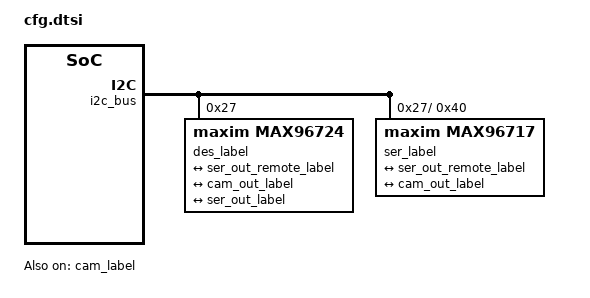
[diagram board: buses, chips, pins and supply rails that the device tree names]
#define _CONCAT(a, b) a ## b
#define CONCAT(a, b) _CONCAT(a, b)

#define des_label max_des_0
#define des_in_label CONCAT(des_label, _in_)
#define des_in_label_x(x) CONCAT(des_in_label, x)
#define des_i2c_label CONCAT(des_label, _i2c_)
#define des_i2c_label_x(x) CONCAT(des_i2c_label, x)

&i2c_bus {
	des_label: gmsl-deserializer@27 {
		#address-cells = <1>;
		#size-cells = <0>;

		compatible = "maxim,max96724";
		reg = <0x27>;
	};
};

&des_label {
	i2c-alias-pool = <0x40 0x41 0x42 0x43>;

	i2c-atr {
		#address-cells = <1>;
		#size-cells = <0>;
	};

	ports {
		#address-cells = <1>;
		#size-cells = <0>;
	};
};

#define ser_label CONCAT(des_label, _ser_0)

#define ser_in_label CONCAT(ser_label, _in_)
#define ser_in_label_x(x) CONCAT(ser_in_label, x)
#define ser_out_label CONCAT(ser_label, _out)
#define ser_out_remote_label des_in_label_x(0)

#define ser_i2c_label CONCAT(ser_label, _i2c_)
#define ser_i2c_label_x(x) CONCAT(ser_i2c_label, x)

#define i2c_label des_i2c_label_x(0)
&des_label {
	i2c-atr {
		i2c_label: i2c@0 {
			#address-cells = <1>;
			#size-cells = <0>;
			reg = <0x0>;
		};
	};
};

&i2c_label {
	ser_label: gmsl-serializer@40 {
		#address-cells = <1>;
		#size-cells = <0>;
		#gpio-cells = <2>;

		compatible = "maxim,max96717";
		reg = <0x40>;

		gpio-controller;
		gpio-ranges = <&ser_label 0 0 11>;
	};
};
#undef i2c_label

&ser_label {
	i2c-alias-pool = <0x50 0x51>;

	i2c-atr {
		#address-cells = <1>;
		#size-cells = <0>;
	};

	ports {
		#address-cells = <1>;
		#size-cells = <0>;

		port@1 {
			reg = <1>;

			ser_out_label: endpoint {
				remote-endpoint = <&ser_out_remote_label>;
			};
		};
	};
};

&des_label {
	ports {
		port@0 {
			reg = <0x0>;

			ser_out_remote_label: endpoint {
				remote-endpoint = <&ser_out_label>;
			};
		};
	};
};

#define cam_label CONCAT(ser_label, _cam_0)
#define vcm_label CONCAT(ser_label, _vcm_0)

#define cam_out_label CONCAT(cam_label, _out)
#define cam_out_remote_label ser_in_label_x(0)

#define i2c_label ser_i2c_label_x(0)
&ser_label {
	i2c-atr {
		i2c_label: i2c@0 {
			#address-cells = <1>;
			#size-cells = <0>;
			reg = <0x0>;
		};
	};
};

#define i2c_csi_dsi0 i2c_label
#define cam_node cam_label
#define cam_endpoint cam_out_label
#define vcm vcm_label
#include "rpi5-csi0-imx219.dtsi"
#undef vcm
#undef cam_node
#undef cam_endpoint
#undef i2c_csi_dsi0

#undef i2c_label

&cam_label {
	status = "okay";

	reset-gpios = <&ser_label 0 GPIO_ACTIVE_HIGH>;
};

&cam_out_label {
	remote-endpoint = <&cam_out_remote_label>;
};

&ser_label {
	ports {
		port@0 {
			reg = <0>;

			cam_out_remote_label: endpoint {
				remote-endpoint = <&cam_out_label>;
			};
		};
	};
};

&cam_out_remote_label {
	clock-lanes = <0>;
	data-lanes = <1 2>;
	clock-noncontinuous;
	link-frequencies = /bits/ 64 <456000000>;
};

#undef cam_out_remote_label
#undef cam_out_label
#undef cam_label

#undef ser_i2c_label_x
#undef ser_i2c_label

#undef ser_out_remote_label
#undef ser_out_label

#undef ser_in_label_x
#undef ser_in_label

#undef ser_label
#define ser_label CONCAT(des_label, _ser_1)

#define ser_in_label CONCAT(ser_label, _in_)
#define ser_in_label_x(x) CONCAT(ser_in_label, x)
#define ser_out_label CONCAT(ser_label, _out)
#define ser_out_remote_label des_in_label_x(1)

#define ser_i2c_label CONCAT(ser_label, _i2c_)
#define ser_i2c_label_x(x) CONCAT(ser_i2c_label, x)

#define i2c_label des_i2c_label_x(1)
&des_label {
	i2c-atr {
		i2c_label: i2c@1 {
			#address-cells = <1>;
			#size-cells = <0>;
			reg = <0x1>;
		};
	};
};

&i2c_label {
	ser_label: gmsl-serializer@40 {
		#address-cells = <1>;
		#size-cells = <0>;
		#gpio-cells = <2>;

		compatible = "maxim,max96717";
		reg = <0x40>;

		gpio-controller;
		gpio-ranges = <&ser_label 0 0 11>;
	};
};
#undef i2c_label

&ser_label {
	i2c-alias-pool = <0x50 0x51>;

	i2c-atr {
		#address-cells = <1>;
		#size-cells = <0>;
	};

	ports {
		#address-cells = <1>;
		#size-cells = <0>;

		port@1 {
			reg = <1>;

			ser_out_label: endpoint {
				remote-endpoint = <&ser_out_remote_label>;
			};
		};
	};
};

&des_label {
	ports {
		port@1 {
			reg = <0x1>;

			ser_out_remote_label: endpoint {
				remote-endpoint = <&ser_out_label>;
			};
		};
	};
};

#define cam_label CONCAT(ser_label, _cam_0)
#define vcm_label CONCAT(ser_label, _vcm_0)

#define cam_out_label CONCAT(cam_label, _out)
#define cam_out_remote_label ser_in_label_x(0)

#define i2c_label ser_i2c_label_x(0)
&ser_label {
	i2c-atr {
		i2c_label: i2c@0 {
			#address-cells = <1>;
			#size-cells = <0>;
			reg = <0x0>;
		};
	};
};

#define i2c_csi_dsi0 i2c_label
#define cam_node cam_label
#define cam_endpoint cam_out_label
#define vcm vcm_label
#include "rpi5-csi0-imx219.dtsi"
#undef vcm
#undef cam_node
#undef cam_endpoint
#undef i2c_csi_dsi0

#undef i2c_label

&cam_label {
	status = "okay";

	reset-gpios = <&ser_label 0 GPIO_ACTIVE_HIGH>;
};

&cam_out_label {
	remote-endpoint = <&cam_out_remote_label>;
};

&ser_label {
	ports {
		port@0 {
			reg = <0>;

			cam_out_remote_label: endpoint {
				remote-endpoint = <&cam_out_label>;
			};
		};
	};
};

&cam_out_remote_label {
	clock-lanes = <0>;
	data-lanes = <1 2>;
	clock-noncontinuous;
	link-frequencies = /bits/ 64 <456000000>;
};

#undef cam_out_remote_label
#undef cam_out_label
#undef cam_label

#undef ser_i2c_label_x
#undef ser_i2c_label

#undef ser_out_remote_label
#undef ser_out_label

#undef ser_in_label_x
#undef ser_in_label

#undef ser_label
#define ser_label CONCAT(des_label, _ser_2)

#define ser_in_label CONCAT(ser_label, _in_)
#define ser_in_label_x(x) CONCAT(ser_in_label, x)
#define ser_out_label CONCAT(ser_label, _out)
#define ser_out_remote_label des_in_label_x(2)

#define ser_i2c_label CONCAT(ser_label, _i2c_)
#define ser_i2c_label_x(x) CONCAT(ser_i2c_label, x)

#define i2c_label des_i2c_label_x(2)
&des_label {
	i2c-atr {
		i2c_label: i2c@2 {
			#address-cells = <1>;
			#size-cells = <0>;
			reg = <0x2>;
		};
	};
};

&i2c_label {
	ser_label: gmsl-serializer@40 {
		#address-cells = <1>;
		#size-cells = <0>;
		#gpio-cells = <2>;

		compatible = "maxim,max96717";
		reg = <0x40>;

		gpio-controller;
		gpio-ranges = <&ser_label 0 0 11>;
	};
};
#undef i2c_label

&ser_label {
	i2c-alias-pool = <0x50 0x51>;

	i2c-atr {
		#address-cells = <1>;
		#size-cells = <0>;
	};

	ports {
		#address-cells = <1>;
		#size-cells = <0>;

		port@1 {
			reg = <1>;

			ser_out_label: endpoint {
				remote-endpoint = <&ser_out_remote_label>;
			};
		};
	};
};

&des_label {
	ports {
		port@2 {
			reg = <0x2>;

			ser_out_remote_label: endpoint {
				remote-endpoint = <&ser_out_label>;
			};
		};
	};
};

#define cam_label CONCAT(ser_label, _cam_0)
#define vcm_label CONCAT(ser_label, _vcm_0)

#define cam_out_label CONCAT(cam_label, _out)
#define cam_out_remote_label ser_in_label_x(0)

#define i2c_label ser_i2c_label_x(0)
&ser_label {
	i2c-atr {
		i2c_label: i2c@0 {
			#address-cells = <1>;
			#size-cells = <0>;
			reg = <0x0>;
		};
	};
};

#define i2c_csi_dsi0 i2c_label
#define cam_node cam_label
#define cam_endpoint cam_out_label
#define vcm vcm_label
#include "rpi5-csi0-imx219.dtsi"
#undef vcm
#undef cam_node
#undef cam_endpoint
#undef i2c_csi_dsi0

#undef i2c_label

&cam_label {
	status = "okay";

	reset-gpios = <&ser_label 0 GPIO_ACTIVE_HIGH>;
};

&cam_out_label {
	remote-endpoint = <&cam_out_remote_label>;
};

&ser_label {
	ports {
		port@0 {
			reg = <0>;

			cam_out_remote_label: endpoint {
				remote-endpoint = <&cam_out_label>;
			};
		};
	};
};

&cam_out_remote_label {
	clock-lanes = <0>;
	data-lanes = <1 2>;
	clock-noncontinuous;
	link-frequencies = /bits/ 64 <456000000>;
};

#undef cam_out_remote_label
#undef cam_out_label
#undef cam_label

#undef ser_i2c_label_x
#undef ser_i2c_label

#undef ser_out_remote_label
#undef ser_out_label

#undef ser_in_label_x
#undef ser_in_label

#undef ser_label
#define ser_label CONCAT(des_label, _ser_3)

#define ser_in_label CONCAT(ser_label, _in_)
#define ser_in_label_x(x) CONCAT(ser_in_label, x)
#define ser_out_label CONCAT(ser_label, _out)
#define ser_out_remote_label des_in_label_x(3)

#define ser_i2c_label CONCAT(ser_label, _i2c_)
#define ser_i2c_label_x(x) CONCAT(ser_i2c_label, x)

#define i2c_label des_i2c_label_x(3)
&des_label {
	i2c-atr {
		i2c_label: i2c@3 {
			#address-cells = <1>;
			#size-cells = <0>;
			reg = <0x3>;
		};
	};
};

&i2c_label {
	ser_label: gmsl-serializer@40 {
		#address-cells = <1>;
		#size-cells = <0>;
		#gpio-cells = <2>;

		compatible = "maxim,max96717";
		reg = <0x40>;

		gpio-controller;
		gpio-ranges = <&ser_label 0 0 11>;
	};
};
#undef i2c_label

&ser_label {
	i2c-alias-pool = <0x50 0x51>;

	i2c-atr {
		#address-cells = <1>;
		#size-cells = <0>;
	};

	ports {
		#address-cells = <1>;
		#size-cells = <0>;

		port@1 {
			reg = <1>;

			ser_out_label: endpoint {
				remote-endpoint = <&ser_out_remote_label>;
			};
		};
	};
};

&des_label {
	ports {
		port@3 {
			reg = <0x3>;

			ser_out_remote_label: endpoint {
				remote-endpoint = <&ser_out_label>;
			};
		};
	};
};

#define cam_label CONCAT(ser_label, _cam_0)
#define vcm_label CONCAT(ser_label, _vcm_0)

#define cam_out_label CONCAT(cam_label, _out)
#define cam_out_remote_label ser_in_label_x(0)

#define i2c_label ser_i2c_label_x(0)
&ser_label {
	i2c-atr {
		i2c_label: i2c@0 {
			#address-cells = <1>;
			#size-cells = <0>;
			reg = <0x0>;
		};
	};
};

#define i2c_csi_dsi0 i2c_label
#define cam_node cam_label
#define cam_endpoint cam_out_label
#define vcm vcm_label
#include "rpi5-csi0-imx219.dtsi"
#undef vcm
#undef cam_node
#undef cam_endpoint
#undef i2c_csi_dsi0

#undef i2c_label

&cam_label {
	status = "okay";

	reset-gpios = <&ser_label 0 GPIO_ACTIVE_HIGH>;
};

&cam_out_label {
	remote-endpoint = <&cam_out_remote_label>;
};

&ser_label {
	ports {
		port@0 {
			reg = <0>;

			cam_out_remote_label: endpoint {
				remote-endpoint = <&cam_out_label>;
			};
		};
	};
};

&cam_out_remote_label {
	clock-lanes = <0>;
	data-lanes = <1 2>;
	clock-noncontinuous;
	link-frequencies = /bits/ 64 <456000000>;
};

#undef cam_out_remote_label
#undef cam_out_label
#undef cam_label

#undef ser_i2c_label_x
#undef ser_i2c_label

#undef ser_out_remote_label
#undef ser_out_label

#undef ser_in_label_x
#undef ser_in_label

#undef ser_label

#undef des_label
#undef des_in_label
#undef des_i2c_label

#undef _CONCAT
#undef CONCAT
